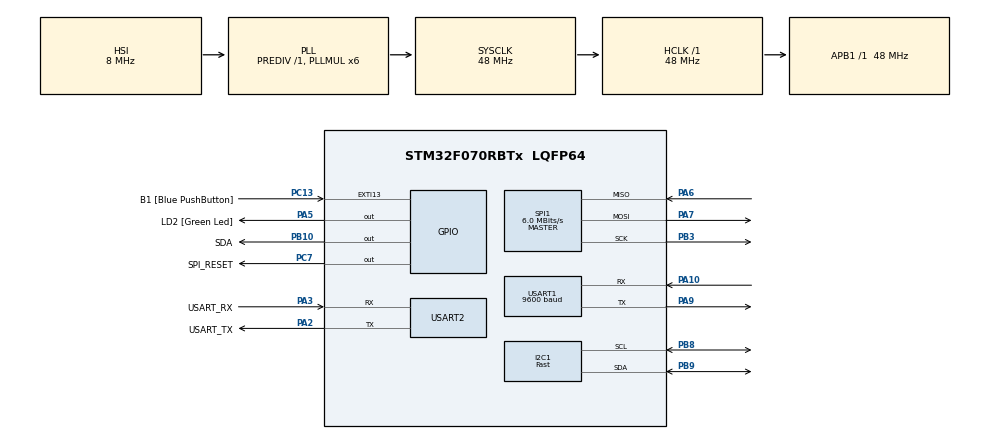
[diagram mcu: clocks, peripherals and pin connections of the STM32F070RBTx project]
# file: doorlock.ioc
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Dma.I2C1_RX.2.Direction=DMA_PERIPH_TO_MEMORY
Dma.I2C1_RX.2.Instance=DMA1_Channel3
Dma.I2C1_RX.2.MemDataAlignment=DMA_MDATAALIGN_BYTE
Dma.I2C1_RX.2.MemInc=DMA_MINC_ENABLE
Dma.I2C1_RX.2.Mode=DMA_NORMAL
Dma.I2C1_RX.2.PeriphDataAlignment=DMA_PDATAALIGN_BYTE
Dma.I2C1_RX.2.PeriphInc=DMA_PINC_DISABLE
Dma.I2C1_RX.2.Priority=DMA_PRIORITY_LOW
Dma.Request0=USART1_RX
Dma.Request1=USART1_TX
Dma.Request2=I2C1_RX
Dma.USART1_RX.0.Direction=DMA_PERIPH_TO_MEMORY
Dma.USART1_RX.0.Instance=DMA1_Channel5
Dma.USART1_RX.0.MemDataAlignment=DMA_MDATAALIGN_BYTE
Dma.USART1_RX.0.MemInc=DMA_MINC_ENABLE
Dma.USART1_RX.0.Mode=DMA_NORMAL
Dma.USART1_RX.0.PeriphDataAlignment=DMA_PDATAALIGN_BYTE
Dma.USART1_RX.0.PeriphInc=DMA_PINC_DISABLE
Dma.USART1_RX.0.Priority=DMA_PRIORITY_LOW
Dma.USART1_TX.1.Direction=DMA_MEMORY_TO_PERIPH
Dma.USART1_TX.1.Instance=DMA1_Channel2
Dma.USART1_TX.1.MemDataAlignment=DMA_MDATAALIGN_BYTE
Dma.USART1_TX.1.MemInc=DMA_MINC_ENABLE
Dma.USART1_TX.1.Mode=DMA_NORMAL
Dma.USART1_TX.1.PeriphDataAlignment=DMA_PDATAALIGN_BYTE
Dma.USART1_TX.1.PeriphInc=DMA_PINC_DISABLE
Dma.USART1_TX.1.Priority=DMA_PRIORITY_LOW
FREERTOS.Mutexes01=I2C1_Mutex,Dynamic,NULL
FREERTOS.Tasks01=BLE_Task,24,128,StartBLE_Task,Default,NULL,Dynamic,NULL,NULL;Display_Task,17,128,StartDisplay_Task,Default,NULL,Dynamic,NULL,NULL;TempSensor_Task,18,128,StartTempSensor_Task,Default,NULL,Dynamic,NULL,NULL;Main_TaskHandle,8,128,StartMain_Task,Default,NULL,Dynamic,NULL,NULL;RFID_TaskHandle,33,128,StartRFID_Task,Default,NULL,Dynamic,NULL,NULL
FREERTOS.configTOTAL_HEAP_SIZE=3248
I2C1.I2C_Speed_Mode=I2C_Fast
I2C1.Timing=0x0000020B
Mcu.Family=STM32F0
Mcu.Name=STM32F070RBTx
Mcu.Package=LQFP64
NVIC.DMA1_Channel2_3_IRQn=true\:3\:0\:false\:false\:true\:true\:false\:true\:true
NVIC.DMA1_Channel4_5_IRQn=true\:3\:0\:false\:false\:true\:true\:false\:true\:true
NVIC.I2C1_IRQn=true\:3\:0\:false\:false\:true\:true\:true\:true\:true
NVIC.USART1_IRQn=true\:3\:0\:false\:false\:true\:true\:true\:true\:true
PA10.Mode=Asynchronous
PA10.Signal=USART1_RX
PA13.GPIO_Label=TMS
PA13.Mode=Serial_Wire
PA13.Signal=SYS_SWDIO
PA14.GPIO_Label=TCK
PA14.Mode=Serial_Wire
PA14.Signal=SYS_SWCLK
PA2.GPIO_Label=USART_TX
PA2.Mode=Asynchronous
PA2.Signal=USART2_TX
PA3.GPIO_Label=USART_RX
PA3.Mode=Asynchronous
PA3.Signal=USART2_RX
PA5.GPIO_Label=LD2 [Green Led]
PA5.Signal=GPIO_Output
PA6.Mode=Full_Duplex_Master
PA6.Signal=SPI1_MISO
PA7.Mode=Full_Duplex_Master
PA7.Signal=SPI1_MOSI
PA9.Mode=Asynchronous
PA9.Signal=USART1_TX
PB10.GPIO_Label=SDA
PB10.Signal=GPIO_Output
PB3.Mode=Full_Duplex_Master
PB3.Signal=SPI1_SCK
PB8.Mode=I2C
PB8.Signal=I2C1_SCL
PB9.Mode=I2C
PB9.Signal=I2C1_SDA
PC13.GPIO_Label=B1 [Blue PushButton]
PC13.GPIO_ModeDefaultEXTI=GPIO_MODE_IT_FALLING
PC13.Signal=GPXTI13
PC14-OSC32_IN.GPIO_Label=RCC_OSC32_IN
PC14-OSC32_IN.Mode=LSE-External-Oscillator
PC14-OSC32_IN.Signal=RCC_OSC32_IN
PC15-OSC32_OUT.GPIO_Label=RCC_OSC32_OUT
PC15-OSC32_OUT.Mode=LSE-External-Oscillator
PC15-OSC32_OUT.Signal=RCC_OSC32_OUT
PC7.GPIO_Label=SPI_RESET
PC7.Signal=GPIO_Output
PF0-OSC_IN.GPIO_Label=RCC_OSC_IN
PF0-OSC_IN.Mode=HSE-External-Clock-Source
PF0-OSC_IN.Signal=RCC_OSC_IN
PF1-OSC_OUT.GPIO_Label=RCC_OSC_OUT
PF1-OSC_OUT.Signal=RCC_OSC_OUT
ProjectManager.HeapSize=0x200
ProjectManager.StackSize=0x400
ProjectManager.TargetToolchain=STM32CubeIDE
RCC.AHBFreq_Value=48000000
RCC.APB1Freq_Value=48000000
RCC.APB1TimFreq_Value=48000000
RCC.HCLKFreq_Value=48000000
RCC.PLLMUL=RCC_PLL_MUL6
RCC.SYSCLKFreq_VALUE=48000000
RCC.SYSCLKSource=RCC_SYSCLKSOURCE_PLLCLK
SPI1.BaudRatePrescaler=SPI_BAUDRATEPRESCALER_8
SPI1.CalculateBaudRate=6.0 MBits/s
SPI1.DataSize=SPI_DATASIZE_8BIT
SPI1.Direction=SPI_DIRECTION_2LINES
SPI1.Mode=SPI_MODE_MASTER
SPI1.VirtualType=VM_MASTER
TIM16.Prescaler=16000-1
USART1.BaudRate=9600
USART1.VirtualMode-Asynchronous=VM_ASYNC
USART2.VirtualMode-Asynchronous=VM_ASYNC
VP_FREERTOS_VS_CMSIS_V2.Mode=CMSIS_V2
VP_TIM16_VS_ClockSourceINT.Mode=Enable_Timer
board=NUCLEO-F070RB

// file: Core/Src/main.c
/* USER CODE BEGIN Header */
/**
 ******************************************************************************
 * @file           : main.c
 * @brief          : Main program body
 ******************************************************************************
 * @attention
 *
 * Copyright (c) 2026 STMicroelectronics.
 * All rights reserved.
 *
 * This software is licensed under terms that can be found in the LICENSE file
 * in the root directory of this software component.
 * If no LICENSE file comes with this software, it is provided AS-IS.
 *
 ******************************************************************************
 */
/* USER CODE END Header */
#include "main.h"
#include "cmsis_os.h"

/* USER CODE BEGIN Includes */
#include "ssd1306.h"
#include "temp_sensor.h"
#include "ble.h"
#include "eeprom.h"
#include "RC522_RFID_Service.h"
/* USER CODE END Includes */

/* USER CODE BEGIN PD */
#define SHARED_I2C &hi2c1
#define SET_PIN_TIMEOUT 10000
//thread flags
#define BLE_TASK_THREAD_FLAG   		(1U << 0)	//set bit 0. 1U = 00000001
#define DISPLAY_TASK_THREAD_FLAG   	(1U << 1)	//set bit 1. 1U = 00000010
#define TEMP_TASK_THREAD_FLAG   	(1U << 2)	//set bit 0. 1U = 00000100
/* USER CODE END PD */

I2C_HandleTypeDef hi2c1;
DMA_HandleTypeDef hdma_i2c1_rx;
SPI_HandleTypeDef hspi1;
TIM_HandleTypeDef htim16;
UART_HandleTypeDef huart1;
UART_HandleTypeDef huart2;
DMA_HandleTypeDef hdma_usart1_rx;
DMA_HandleTypeDef hdma_usart1_tx;

/* Definitions for BLE_Task */
osThreadId_t BLE_TaskHandle;
const osThreadAttr_t BLE_Task_attributes = { .name = "BLE_Task", .stack_size =
		128 * 4, .priority = (osPriority_t) osPriorityNormal, };
/* Definitions for Display_Task */
osThreadId_t Display_TaskHandle;
const osThreadAttr_t Display_Task_attributes =
		{ .name = "Display_Task", .stack_size = 128 * 4, .priority =
				(osPriority_t) osPriorityBelowNormal1, };
/* Definitions for TempSensor_Task */
osThreadId_t TempSensor_TaskHandle;
const osThreadAttr_t TempSensor_Task_attributes =
		{ .name = "TempSensor_Task", .stack_size = 128 * 4, .priority =
				(osPriority_t) osPriorityBelowNormal2, };
/* Definitions for Main_TaskHandle */
osThreadId_t Main_TaskHandleHandle;
const osThreadAttr_t Main_TaskHandle_attributes = { .name = "Main_TaskHandle",
		.stack_size = 128 * 4, .priority = (osPriority_t) osPriorityLow, };
/* Definitions for RFID_TaskHandle */
osThreadId_t RFID_TaskHandleHandle;
const osThreadAttr_t RFID_TaskHandle_attributes =
		{ .name = "RFID_TaskHandle", .stack_size = 128 * 4, .priority =
				(osPriority_t) osPriorityAboveNormal1, };
/* Definitions for I2C1_Mutex */
osMutexId_t I2C1_MutexHandle;
const osMutexAttr_t I2C1_Mutex_attributes = { .name = "I2C1_Mutex" };
/* USER CODE BEGIN PV */
//uint8_t temp_buffer[2];		//12 size buffer of type unsigned 8 bit integer
uint16_t passcode = 1010;	//0x03F2
float temp_func;
typedef uint32_t TimeStamp;

extern uint8_t eeprom_data[EEPROM_PIN_DATA_SIZE];

//uint8_t card_ID[] = { 1, 2, 3, 4, 5 };
uint8_t card_ID[] = "1234";
uint8_t card1_ID[5];
uint8_t card[4];
/* USER CODE END PV */

void SystemClock_Config(void);
static void MX_GPIO_Init(void);
static void MX_DMA_Init(void);
static void MX_USART2_UART_Init(void);
static void MX_I2C1_Init(void);
static void MX_USART1_UART_Init(void);
static void MX_TIM16_Init(void);
static void MX_SPI1_Init(void);
void StartBLE_Task(void *argument);
void StartDisplay_Task(void *argument);
void StartTempSensor_Task(void *argument);
void StartMain_Task(void *argument);
void StartRFID_Task(void *argument);

/* USER CODE BEGIN PFP */
void pin_reset_timeout(void);
void new_card_timeout(void);
void check_access_request_attempts(void);
void pin_access_request_attempts(void);
/* USER CODE END PFP */

int main(void) {

	/* MCU Configuration--------------------------------------------------------*/

	/* Reset of all peripherals, Initializes the Flash interface and the Systick. */
	HAL_Init();

	/* Configure the system clock */
	SystemClock_Config();

	/* Initialize all configured peripherals */
	MX_GPIO_Init();
	MX_DMA_Init();
	MX_USART2_UART_Init();
	MX_I2C1_Init();
	MX_USART1_UART_Init();
	MX_TIM16_Init();
	MX_SPI1_Init();
	/* USER CODE BEGIN 2 */
	RFID_Init();
	ssd1306_Init();
	temp_sensor_Init();
	receive_BLE_command();
	displayTemperatureAtInit("Temperature");

	//Start Timer 16
	HAL_TIM_Base_Start(&htim16);

	/* USER CODE END 2 */

	/* Init scheduler */
	osKernelInitialize();
	/* Create the mutex(es) */
	/* creation of I2C1_Mutex */
	I2C1_MutexHandle = osMutexNew(&I2C1_Mutex_attributes);

	/* Create the thread(s) */
	/* creation of BLE_Task */
	BLE_TaskHandle = osThreadNew(StartBLE_Task, NULL, &BLE_Task_attributes);

	/* creation of Display_Task */
	Display_TaskHandle = osThreadNew(StartDisplay_Task, NULL,
			&Display_Task_attributes);

	/* creation of TempSensor_Task */
	TempSensor_TaskHandle = osThreadNew(StartTempSensor_Task, NULL,
			&TempSensor_Task_attributes);

	/* creation of Main_TaskHandle */
	Main_TaskHandleHandle = osThreadNew(StartMain_Task, NULL,
			&Main_TaskHandle_attributes);

	/* creation of RFID_TaskHandle */
	RFID_TaskHandleHandle = osThreadNew(StartRFID_Task, NULL,
			&RFID_TaskHandle_attributes);

	/* Start scheduler */
	osKernelStart();
	/* We should never get here as control is now taken by the scheduler */
	/* Infinite loop */
	while (1) {

	}
}

void SystemClock_Config(void) {
	RCC_OscInitTypeDef RCC_OscInitStruct = { 0 };
	RCC_ClkInitTypeDef RCC_ClkInitStruct = { 0 };
	RCC_PeriphCLKInitTypeDef PeriphClkInit = { 0 };

	/** Initializes the RCC Oscillators according to the specified parameters
	 * in the RCC_OscInitTypeDef structure.
	 */
	RCC_OscInitStruct.OscillatorType = RCC_OSCILLATORTYPE_HSI;
	RCC_OscInitStruct.HSIState = RCC_HSI_ON;
	RCC_OscInitStruct.HSICalibrationValue = RCC_HSICALIBRATION_DEFAULT;
	RCC_OscInitStruct.PLL.PLLState = RCC_PLL_ON;
	RCC_OscInitStruct.PLL.PLLSource = RCC_PLLSOURCE_HSI;
	RCC_OscInitStruct.PLL.PLLMUL = RCC_PLL_MUL6;
	RCC_OscInitStruct.PLL.PREDIV = RCC_PREDIV_DIV1;
	if (HAL_RCC_OscConfig(&RCC_OscInitStruct) != HAL_OK) {
		Error_Handler();
	}

	/** Initializes the CPU, AHB and APB buses clocks
	 */
	RCC_ClkInitStruct.ClockType = RCC_CLOCKTYPE_HCLK | RCC_CLOCKTYPE_SYSCLK
			| RCC_CLOCKTYPE_PCLK1;
	RCC_ClkInitStruct.SYSCLKSource = RCC_SYSCLKSOURCE_PLLCLK;
	RCC_ClkInitStruct.AHBCLKDivider = RCC_SYSCLK_DIV1;
	RCC_ClkInitStruct.APB1CLKDivider = RCC_HCLK_DIV1;

	if (HAL_RCC_ClockConfig(&RCC_ClkInitStruct, FLASH_LATENCY_1) != HAL_OK) {
		Error_Handler();
	}
	PeriphClkInit.PeriphClockSelection = RCC_PERIPHCLK_USART1
			| RCC_PERIPHCLK_I2C1;
	PeriphClkInit.Usart1ClockSelection = RCC_USART1CLKSOURCE_PCLK1;
	PeriphClkInit.I2c1ClockSelection = RCC_I2C1CLKSOURCE_HSI;
	if (HAL_RCCEx_PeriphCLKConfig(&PeriphClkInit) != HAL_OK) {
		Error_Handler();
	}
}

static void MX_I2C1_Init(void) {

	hi2c1.Instance = I2C1;
	hi2c1.Init.Timing = 0x0000020B;
	hi2c1.Init.OwnAddress1 = 0;
	hi2c1.Init.AddressingMode = I2C_ADDRESSINGMODE_7BIT;
	hi2c1.Init.DualAddressMode = I2C_DUALADDRESS_DISABLE;
	hi2c1.Init.OwnAddress2 = 0;
	hi2c1.Init.OwnAddress2Masks = I2C_OA2_NOMASK;
	hi2c1.Init.GeneralCallMode = I2C_GENERALCALL_DISABLE;
	hi2c1.Init.NoStretchMode = I2C_NOSTRETCH_DISABLE;
	if (HAL_I2C_Init(&hi2c1) != HAL_OK) {
		Error_Handler();
	}

	/** Configure Analogue filter
	 */
	if (HAL_I2CEx_ConfigAnalogFilter(&hi2c1, I2C_ANALOGFILTER_ENABLE)
			!= HAL_OK) {
		Error_Handler();
	}

	/** Configure Digital filter
	 */
	if (HAL_I2CEx_ConfigDigitalFilter(&hi2c1, 0) != HAL_OK) {
		Error_Handler();
	}

}

static void MX_SPI1_Init(void) {

	/* SPI1 parameter configuration*/
	hspi1.Instance = SPI1;
	hspi1.Init.Mode = SPI_MODE_MASTER;
	hspi1.Init.Direction = SPI_DIRECTION_2LINES;
	hspi1.Init.DataSize = SPI_DATASIZE_8BIT;
	hspi1.Init.CLKPolarity = SPI_POLARITY_LOW;
	hspi1.Init.CLKPhase = SPI_PHASE_1EDGE;
	hspi1.Init.NSS = SPI_NSS_SOFT;
	hspi1.Init.BaudRatePrescaler = SPI_BAUDRATEPRESCALER_8;
	hspi1.Init.FirstBit = SPI_FIRSTBIT_MSB;
	hspi1.Init.TIMode = SPI_TIMODE_DISABLE;
	hspi1.Init.CRCCalculation = SPI_CRCCALCULATION_DISABLE;
	hspi1.Init.CRCPolynomial = 7;
	hspi1.Init.CRCLength = SPI_CRC_LENGTH_DATASIZE;
	hspi1.Init.NSSPMode = SPI_NSS_PULSE_ENABLE;
	if (HAL_SPI_Init(&hspi1) != HAL_OK) {
		Error_Handler();
	}

}

static void MX_TIM16_Init(void) {

	htim16.Instance = TIM16;
	htim16.Init.Prescaler = 16000 - 1;
	htim16.Init.CounterMode = TIM_COUNTERMODE_UP;
	htim16.Init.Period = 65535;
	htim16.Init.ClockDivision = TIM_CLOCKDIVISION_DIV1;
	htim16.Init.RepetitionCounter = 0;
	htim16.Init.AutoReloadPreload = TIM_AUTORELOAD_PRELOAD_DISABLE;
	if (HAL_TIM_Base_Init(&htim16) != HAL_OK) {
		Error_Handler();
	}

}

static void MX_USART1_UART_Init(void) {

	huart1.Instance = USART1;
	huart1.Init.BaudRate = 9600;
	huart1.Init.WordLength = UART_WORDLENGTH_8B;
	huart1.Init.StopBits = UART_STOPBITS_1;
	huart1.Init.Parity = UART_PARITY_NONE;
	huart1.Init.Mode = UART_MODE_TX_RX;
	huart1.Init.HwFlowCtl = UART_HWCONTROL_NONE;
	huart1.Init.OverSampling = UART_OVERSAMPLING_16;
	huart1.Init.OneBitSampling = UART_ONE_BIT_SAMPLE_DISABLE;
	huart1.AdvancedInit.AdvFeatureInit = UART_ADVFEATURE_NO_INIT;
	if (HAL_UART_Init(&huart1) != HAL_OK) {
		Error_Handler();
	}

}

static void MX_USART2_UART_Init(void) {

	huart2.Instance = USART2;
	huart2.Init.BaudRate = 38400;
	huart2.Init.WordLength = UART_WORDLENGTH_8B;
	huart2.Init.StopBits = UART_STOPBITS_1;
	huart2.Init.Parity = UART_PARITY_NONE;
	huart2.Init.Mode = UART_MODE_TX_RX;
	huart2.Init.HwFlowCtl = UART_HWCONTROL_NONE;
	huart2.Init.OverSampling = UART_OVERSAMPLING_16;
	huart2.Init.OneBitSampling = UART_ONE_BIT_SAMPLE_DISABLE;
	huart2.AdvancedInit.AdvFeatureInit = UART_ADVFEATURE_NO_INIT;
	if (HAL_UART_Init(&huart2) != HAL_OK) {
		Error_Handler();
	}

}

static void MX_DMA_Init(void) {

	/* DMA controller clock enable */
	__HAL_RCC_DMA1_CLK_ENABLE();

	/* DMA interrupt init */
	/* DMA1_Channel2_3_IRQn interrupt configuration */
	HAL_NVIC_SetPriority(DMA1_Channel2_3_IRQn, 3, 0);
	HAL_NVIC_EnableIRQ(DMA1_Channel2_3_IRQn);
	/* DMA1_Channel4_5_IRQn interrupt configuration */
	HAL_NVIC_SetPriority(DMA1_Channel4_5_IRQn, 3, 0);
	HAL_NVIC_EnableIRQ(DMA1_Channel4_5_IRQn);

}

static void MX_GPIO_Init(void) {
	GPIO_InitTypeDef GPIO_InitStruct = { 0 };

	/* GPIO Ports Clock Enable */
	__HAL_RCC_GPIOC_CLK_ENABLE();
	__HAL_RCC_GPIOF_CLK_ENABLE();
	__HAL_RCC_GPIOA_CLK_ENABLE();
	__HAL_RCC_GPIOB_CLK_ENABLE();

	/*Configure GPIO pin Output Level */
	HAL_GPIO_WritePin(LD2_GPIO_Port, LD2_Pin, GPIO_PIN_RESET);

	/*Configure GPIO pin Output Level */
	HAL_GPIO_WritePin(SDA_GPIO_Port, SDA_Pin, GPIO_PIN_RESET);

	/*Configure GPIO pin Output Level */
	HAL_GPIO_WritePin(SPI_RESET_GPIO_Port, SPI_RESET_Pin, GPIO_PIN_RESET);

	/*Configure GPIO pin : B1_Pin */
	GPIO_InitStruct.Pin = B1_Pin;
	GPIO_InitStruct.Mode = GPIO_MODE_IT_FALLING;
	GPIO_InitStruct.Pull = GPIO_NOPULL;
	HAL_GPIO_Init(B1_GPIO_Port, &GPIO_InitStruct);

	/*Configure GPIO pin : LD2_Pin */
	GPIO_InitStruct.Pin = LD2_Pin;
	GPIO_InitStruct.Mode = GPIO_MODE_OUTPUT_PP;
	GPIO_InitStruct.Pull = GPIO_NOPULL;
	GPIO_InitStruct.Speed = GPIO_SPEED_FREQ_LOW;
	HAL_GPIO_Init(LD2_GPIO_Port, &GPIO_InitStruct);

	/*Configure GPIO pin : SDA_Pin */
	GPIO_InitStruct.Pin = SDA_Pin;
	GPIO_InitStruct.Mode = GPIO_MODE_OUTPUT_PP;
	GPIO_InitStruct.Pull = GPIO_NOPULL;
	GPIO_InitStruct.Speed = GPIO_SPEED_FREQ_LOW;
	HAL_GPIO_Init(SDA_GPIO_Port, &GPIO_InitStruct);

	/*Configure GPIO pin : SPI_RESET_Pin */
	GPIO_InitStruct.Pin = SPI_RESET_Pin;
	GPIO_InitStruct.Mode = GPIO_MODE_OUTPUT_PP;
	GPIO_InitStruct.Pull = GPIO_NOPULL;
	GPIO_InitStruct.Speed = GPIO_SPEED_FREQ_LOW;
	HAL_GPIO_Init(SPI_RESET_GPIO_Port, &GPIO_InitStruct);

}

/* USER CODE BEGIN 4 */
void check_access_request_attempts(void) {
	if (access_request_too_many_attempts
			== YES&& (time_now() - attempt_again_timer) >= PIN_ATTEMPT_RETRY_WAIT_TIME) {
		access_request_counter = 0;
		access_request_too_many_attempts = NO;
		attempt_again_timer = 0;
	}
}
void pin_access_request_attempts(void) {

	if (pin_reset_too_many_attempts == 1
			&& (time_now() - pin_reset_attempt_again_timer
					>= PIN_CHANGE_RETRY_WAIT_TIME)) {
		pin_change_counter = 0;
		pin_reset_too_many_attempts = 0;
		pin_reset_attempt_again_timer = 0;
	}
}
void pin_reset_timeout() {
	set_pin_timeout = time_now();
	if ((set_pin_timeout - set_pin_timeflag >= SET_PIN_TIMEOUT)
			&& set_pin_mode == ACTIVE) {
		serial_print("PIN Reset Timeout");
		pinResetFeedbacks(1, "Pin Reset Menu", "Timeout", "");
		set_pin_mode = INACTIVE;
		new_pin_signal = 0;
		display_temp = DISPLAY_TEMP;
		currentMillis = time_now();
	}
}

void new_card_timeout() {
	set_pin_timeout = time_now();
	if ((set_pin_timeout - save_new_card_time_flag >= SET_PIN_TIMEOUT)
			&& ((save_new_card1_mode == PROCESSING1)
					|| (save_new_card2_mode == PROCESSING2))) {
		serial_print("Save New Card Timeout");
		pinResetFeedbacks(1, "Save New Card", "Timeout", "");
		save_new_card1_mode = IDLE1;
		save_new_card2_mode = IDLE2;
		display_temp = DISPLAY_TEMP;
		currentMillis = time_now();
	}
}

void HAL_UART_RxCpltCallback(UART_HandleTypeDef *huart) {
	if (huart->Instance == USART1) {
		if (BLE_TaskHandle != NULL) {
			osThreadFlagsSet(BLE_TaskHandle, BLE_TASK_THREAD_FLAG);
		}
	}
}
/* USER CODE END 4 */

void StartBLE_Task(void *argument) {
	/* USER CODE BEGIN 5 */
	/* Infinite loop */
	for (;;) {
		osThreadFlagsWait(BLE_TASK_THREAD_FLAG, osFlagsWaitAny, osWaitForever);
		receive_BLE_command();
		osMutexAcquire(I2C1_MutexHandle, osWaitForever);
		process_BLE_command();
		if (Display_TaskHandle != NULL) {
			osThreadFlagsSet(Display_TaskHandle, DISPLAY_TASK_THREAD_FLAG);
		}
		osMutexRelease(I2C1_MutexHandle);
		osDelay(1);
	}
	/* USER CODE END 5 */
}

void StartDisplay_Task(void *argument) {
	/* USER CODE BEGIN StartDisplay_Task */
	/* Infinite loop */
	for (;;) {
		osThreadFlagsWait(DISPLAY_TASK_THREAD_FLAG, osFlagsWaitAny,
		osWaitForever);
		osMutexAcquire(I2C1_MutexHandle, osWaitForever);
		ssd1306_UpdateScreen();
		osMutexRelease(I2C1_MutexHandle);
		osDelay(1);
	}
	/* USER CODE END StartDisplay_Task */
}

void StartTempSensor_Task(void *argument) {
	/* USER CODE BEGIN StartTempSensor_Task */
	/* Infinite loop */
	for (;;) {
		osMutexAcquire(I2C1_MutexHandle, osWaitForever);
		temp_Sensor_service();
		osMutexRelease(I2C1_MutexHandle);
		if (Display_TaskHandle != NULL) {
			osThreadFlagsSet(Display_TaskHandle, DISPLAY_TASK_THREAD_FLAG);
		}
		osDelay(3000);
	}
	/* USER CODE END StartTempSensor_Task */
}

void StartMain_Task(void *argument) {
	/* USER CODE BEGIN StartMain_Task */
	/* Infinite loop */
	for (;;) {
		check_access_request_attempts();
		pin_access_request_attempts();
		pin_reset_timeout();
		new_card_timeout();
		//lock_door();
		osDelay(1);
	}
	/* USER CODE END StartMain_Task */
}

void StartRFID_Task(void *argument) {
	/* USER CODE BEGIN StartRFID_Task */
	/* Infinite loop */
	for (;;) {
		osMutexAcquire(I2C1_MutexHandle, osWaitForever);
		process_RFID_command();
		osMutexRelease(I2C1_MutexHandle);
		if (Display_TaskHandle != NULL) {
			osThreadFlagsSet(Display_TaskHandle, DISPLAY_TASK_THREAD_FLAG);
		}
		osDelay(1000);
	}
	/* USER CODE END StartRFID_Task */
}

void Error_Handler(void) {
	__disable_irq();
	while (1) {
	}
}
